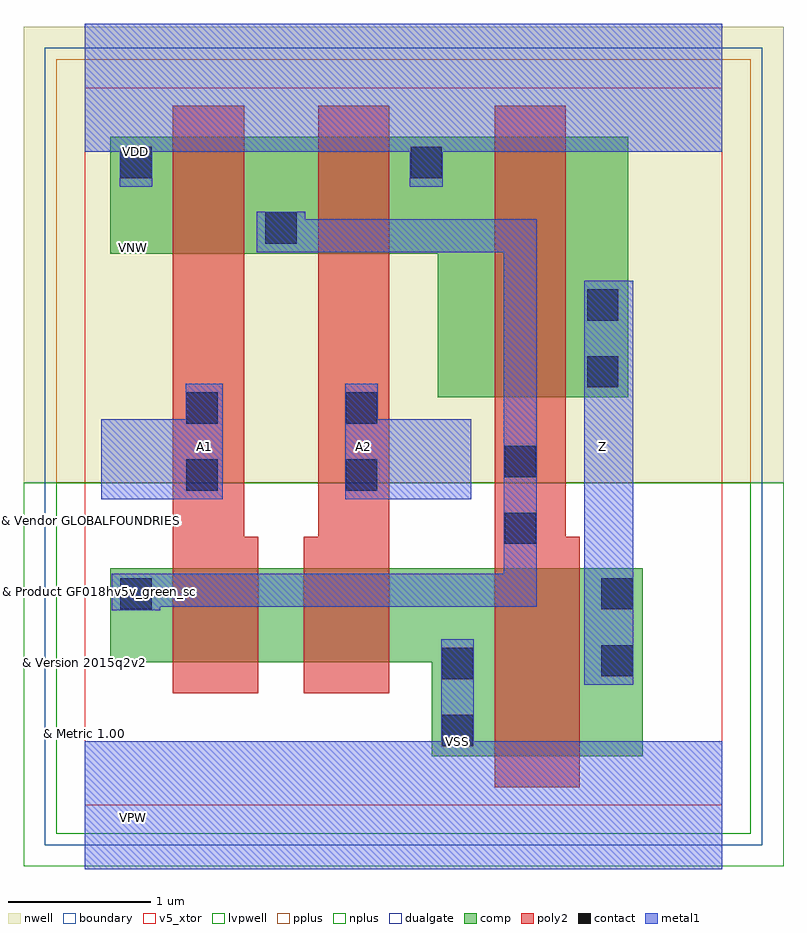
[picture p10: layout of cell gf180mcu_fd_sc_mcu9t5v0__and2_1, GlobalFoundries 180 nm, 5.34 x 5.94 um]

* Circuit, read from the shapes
.subckt gf180mcu_fd_sc_mcu9t5v0__and2_1 A1 A2 VDD VNW VSS Z
XM1 n1 A1 n2 VSUBS nfet_05v0 w=0.66u l=0.6u
XM2 VSS A2 n1 VSUBS nfet_05v0 w=0.66u l=0.6u
XM3 Z n2 VSS VSUBS nfet_05v0 w=1.32u l=0.6u
XM4 n2 A1 VDD VNW pfet_05v0 w=0.82u l=0.5u
XM5 VDD A2 n2 VNW pfet_05v0 w=0.82u l=0.5u
XM6 Z n2 VDD VNW pfet_05v0 w=1.83u l=0.5u
.ends

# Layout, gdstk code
import gdstk
lib = gdstk.Library(unit=1e-6, precision=5e-10)
def R(c, l, rs):  # rectangles x0, y0, x1, y1
    for r in rs: c.add(gdstk.rectangle(r[:2], r[2:], *l))
def P(c, l, *ps):  # polygons
    for p in ps: c.add(gdstk.Polygon(p, *l))
boundary = (0, 0)
nwell = (21, 0)
comp = (22, 0)
poly2 = (30, 0)
pplus = (31, 0)
nplus = (32, 0)
contact = (33, 0)
metal1 = (34, 0)
dualgate = (55, 0)
v5_xtor = (112, 1)
lvpwell = (204, 0)

gf180mcu_fd_sc_mcu9t5v0_ = lib.new_cell('gf180mcu_fd_sc_mcu9t5v0__and2_1')
R(gf180mcu_fd_sc_mcu9t5v0_, boundary, [(0,0,4.48,5.04)])
R(gf180mcu_fd_sc_mcu9t5v0_, nwell, [(-0.43,2.265,4.91,5.47)])
P(gf180mcu_fd_sc_mcu9t5v0_, comp, [(2.48,2.865),(2.48,3.875),(0.18,3.875),(0.18,4.695),(3.82,4.695),(3.82,2.865)],
  [(2.44,0.345),(2.44,1.005),(0.18,1.005),(0.18,1.665),(3.92,1.665),(3.92,0.345)])
P(gf180mcu_fd_sc_mcu9t5v0_, poly2, [(0.62,0.785),(0.62,4.915),(1.12,4.915),(1.12,1.885),(1.22,1.885),(1.22,0.785)],
  [(1.54,0.785),(1.54,1.885),(1.64,1.885),(1.64,4.915),(2.14,4.915),(2.14,0.785)],
  [(2.88,0.125),(2.88,4.915),(3.38,4.915),(3.38,1.885),(3.48,1.885),(3.48,0.125)])
R(gf180mcu_fd_sc_mcu9t5v0_, pplus, [(-0.2,2.265,4.68,5.24)])
R(gf180mcu_fd_sc_mcu9t5v0_, nplus, [(-0.2,-0.2,4.68,2.265)])
R(gf180mcu_fd_sc_mcu9t5v0_, contact, [(2.51,0.415,2.73,0.635), (2.51,0.885,2.73,1.105), (3.63,0.905,3.85,1.125), (0.25,1.375,0.47,1.595), (3.63,1.375,3.85,1.595), (2.95,1.835,3.17,2.055), (0.715,2.21,0.935,2.43), (1.835,2.21,2.055,2.43), (2.95,2.305,3.17,2.525), (0.715,2.68,0.935,2.9), (1.835,2.68,2.055,2.9), (3.53,2.935,3.75,3.155), (3.53,3.405,3.75,3.625), (1.27,3.945,1.49,4.165), (0.25,4.405,0.47,4.625), (2.29,4.405,2.51,4.625)])
R(gf180mcu_fd_sc_mcu9t5v0_, metal1, [(3.51,0.845,3.855,3.685)])
P(gf180mcu_fd_sc_mcu9t5v0_, metal1, [(0.115,2.15),(0.115,2.71),(0.71,2.71),(0.71,2.96),(0.97,2.96),(0.97,2.15)],
  [(1.83,2.15),(1.83,2.96),(2.06,2.96),(2.06,2.71),(2.715,2.71),(2.715,2.15)],
  [(0.19,1.37),(0.19,1.625),(2.945,1.625),(2.945,3.885),(1.21,3.885),(1.21,4.17),(1.55,4.17),(1.55,4.115),(3.175,4.115),(3.175,1.395),(0.53,1.395),(0.53,1.37)],
  [(0,-0.45),(0,0.45),(2.505,0.45),(2.505,1.165),(2.735,1.165),(2.735,0.45),(4.48,0.45),(4.48,-0.45)],
  [(0.245,4.345),(0.245,4.59),(0,4.59),(0,5.49),(4.48,5.49),(4.48,4.59),(2.515,4.59),(2.515,4.345),(2.285,4.345),(2.285,4.59),(0.475,4.59),(0.475,4.345)])
R(gf180mcu_fd_sc_mcu9t5v0_, dualgate, [(-0.28,-0.28,4.76,5.32)])
R(gf180mcu_fd_sc_mcu9t5v0_, v5_xtor, [(0,0,4.48,5.04)])
R(gf180mcu_fd_sc_mcu9t5v0_, lvpwell, [(-0.43,-0.43,4.91,2.265)])
gf180mcu_fd_sc_mcu9t5v0_.add(gdstk.Label('A1', (0.84,2.52), layer=34, texttype=10))
gf180mcu_fd_sc_mcu9t5v0_.add(gdstk.Label('A2', (1.96,2.52), layer=34, texttype=10))
gf180mcu_fd_sc_mcu9t5v0_.add(gdstk.Label('VDD', (0.36,4.59), layer=34, texttype=10))
gf180mcu_fd_sc_mcu9t5v0_.add(gdstk.Label('VSS', (2.62,0.45), layer=34, texttype=10))
gf180mcu_fd_sc_mcu9t5v0_.add(gdstk.Label('Z', (3.64,2.52), layer=34, texttype=10))
gf180mcu_fd_sc_mcu9t5v0_.add(gdstk.Label('& Vendor GLOBALFOUNDRIES', (0,2), layer=63, texttype=63))
gf180mcu_fd_sc_mcu9t5v0_.add(gdstk.Label('& Product GF018hv5v_green_sc9', (0,1.5), layer=63, texttype=63))
gf180mcu_fd_sc_mcu9t5v0_.add(gdstk.Label('& Version 2015q2v2', (0,1), layer=63, texttype=63))
gf180mcu_fd_sc_mcu9t5v0_.add(gdstk.Label('& Metric 1.00', (0,0.5), layer=63, texttype=63))
gf180mcu_fd_sc_mcu9t5v0_.add(gdstk.Label('VNW', (0.345,3.92), layer=21, texttype=10))
gf180mcu_fd_sc_mcu9t5v0_.add(gdstk.Label('VPW', (0.34,-0.085), layer=204, texttype=10))

lib.write_gds('gf180mcu_fd_sc_mcu9t5v0__and2_1.gds')
